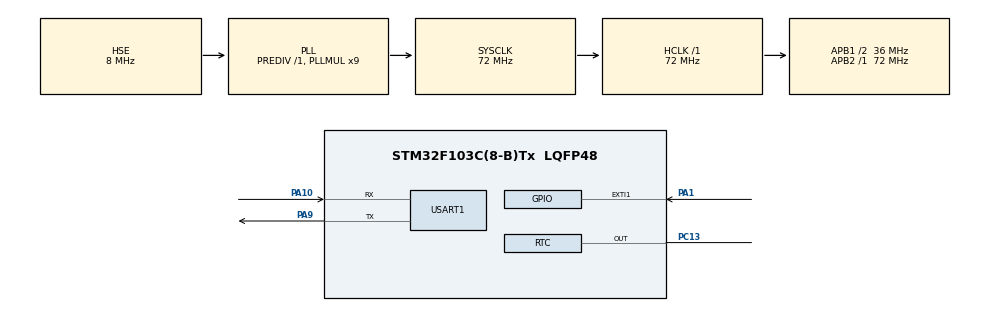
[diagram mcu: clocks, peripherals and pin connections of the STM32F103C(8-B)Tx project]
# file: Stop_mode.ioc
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Mcu.Family=STM32F1
Mcu.Name=STM32F103C(8-B)Tx
Mcu.Package=LQFP48
NVIC.EXTI1_IRQn=true\:1\:0\:true\:false\:true\:true\:true\:true
NVIC.PriorityGroup=NVIC_PRIORITYGROUP_4
NVIC.RTC_Alarm_IRQn=true\:1\:0\:true\:false\:true\:true\:true\:true
PA1.Signal=GPXTI1
PA10.Mode=Asynchronous
PA10.Signal=USART1_RX
PA13.Mode=Serial_Wire
PA13.Signal=SYS_JTMS-SWDIO
PA14.Mode=Serial_Wire
PA14.Signal=SYS_JTCK-SWCLK
PA9.Mode=Asynchronous
PA9.Signal=USART1_TX
PC13-TAMPER-RTC.Mode=RTC OUT
PC13-TAMPER-RTC.Signal=RTC_OUT
PD0-OSC_IN.Mode=HSE-External-Oscillator
PD0-OSC_IN.Signal=RCC_OSC_IN
PD1-OSC_OUT.Mode=HSE-External-Oscillator
PD1-OSC_OUT.Signal=RCC_OSC_OUT
ProjectManager.HeapSize=0x200
ProjectManager.StackSize=0x400
ProjectManager.TargetToolchain=STM32CubeIDE
RCC.AHBFreq_Value=72000000
RCC.APB1CLKDivider=RCC_HCLK_DIV2
RCC.APB1Freq_Value=36000000
RCC.APB1TimFreq_Value=72000000
RCC.APB2Freq_Value=72000000
RCC.APB2TimFreq_Value=72000000
RCC.HCLKFreq_Value=72000000
RCC.PLLMUL=RCC_PLL_MUL9
RCC.PLLSourceVirtual=RCC_PLLSOURCE_HSE
RCC.SYSCLKFreq_VALUE=72000000
RCC.SYSCLKSource=RCC_SYSCLKSOURCE_PLLCLK
RCC.USBFreq_Value=72000000
RTC.AsynchPrediv=39999
RTC.AutoPrediv=0
RTC.Format=RTC_FORMAT_BIN
USART1.VirtualMode=VM_ASYNC
VP_RTC_VS_RTC_Activate.Mode=RTC_Enabled
VP_RTC_VS_RTC_Calendar.Mode=RTC_Calendar
board=custom

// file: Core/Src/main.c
/* USER CODE BEGIN Header */
/* USER CODE END Header */
#include "main.h"

/* USER CODE BEGIN Includes */
#include <string.h>
/* USER CODE END Includes */

RTC_HandleTypeDef hrtc;

UART_HandleTypeDef huart1;

/* USER CODE BEGIN PV */
//RTC_TimeTypeDef Time;
//RTC_AlarmTypeDef Alarm;
//
char *str=NULL;
/* USER CODE END PV */

void SystemClock_Config(void);
static void MX_GPIO_Init(void);
static void MX_RTC_Init(void);
static void MX_USART1_UART_Init(void);
/* USER CODE BEGIN PFP */

void HAL_RTC_AlarmAEventCallback(RTC_HandleTypeDef *hrtc){

		HAL_ResumeTick();
		SystemClock_Config();
		str="wake up ALARM_IT\r\n";
}

void HAL_GPIO_EXTI_Callback(uint16_t GPIO_Pin){
	if(GPIO_Pin == GPIO_PIN_1){
		HAL_ResumeTick();
		SystemClock_Config();
		str="wake up GPIO_IT\r\n";
	}
}
/* USER CODE END PFP */

int main(void)
{

  /* MCU Configuration--------------------------------------------------------*/

  /* Reset of all peripherals, Initializes the Flash interface and the Systick. */
  HAL_Init();

  /* Configure the system clock */
  SystemClock_Config();

  /* Initialize all configured peripherals */
  MX_GPIO_Init();
  MX_RTC_Init();
  MX_USART1_UART_Init();
  /* USER CODE BEGIN 2 */

str = "about to go to stop mode\r\n";
HAL_UART_Transmit(&huart1, (uint8_t*)str, strlen(str),1000);

HAL_SuspendTick();

HAL_PWR_EnterSTOPMode(PWR_LOWPOWERREGULATOR_ON, PWR_STOPENTRY_WFI);

HAL_UART_Transmit(&huart1, (uint8_t*)str, strlen(str),1000);

  /* USER CODE END 2 */

  /* Infinite loop */
  /* USER CODE BEGIN WHILE */
  while(1){
	  HAL_UART_Transmit(&huart1, (uint8_t*)str, strlen(str),1000);
	  HAL_Delay(2000);
//	  HAL_RTC_GetTime(&hrtc, &Time,RTC_FORMAT_BIN);
//	  HAL_RTC_GetAlarm(&hrtc, &Alarm, RTC_ALARM_A, RTC_FORMAT_BIN);
//	  HAL_Delay(900);
  }
    /* USER CODE END WHILE */

}

void SystemClock_Config(void)
{
  RCC_OscInitTypeDef RCC_OscInitStruct = {0};
  RCC_ClkInitTypeDef RCC_ClkInitStruct = {0};
  RCC_PeriphCLKInitTypeDef PeriphClkInit = {0};

  /** Initializes the RCC Oscillators according to the specified parameters
  * in the RCC_OscInitTypeDef structure.
  */
  RCC_OscInitStruct.OscillatorType = RCC_OSCILLATORTYPE_LSI|RCC_OSCILLATORTYPE_HSE;
  RCC_OscInitStruct.HSEState = RCC_HSE_ON;
  RCC_OscInitStruct.HSEPredivValue = RCC_HSE_PREDIV_DIV1;
  RCC_OscInitStruct.HSIState = RCC_HSI_ON;
  RCC_OscInitStruct.LSIState = RCC_LSI_ON;
  RCC_OscInitStruct.PLL.PLLState = RCC_PLL_ON;
  RCC_OscInitStruct.PLL.PLLSource = RCC_PLLSOURCE_HSE;
  RCC_OscInitStruct.PLL.PLLMUL = RCC_PLL_MUL9;
  if (HAL_RCC_OscConfig(&RCC_OscInitStruct) != HAL_OK)
  {
    Error_Handler();
  }

  /** Initializes the CPU, AHB and APB buses clocks
  */
  RCC_ClkInitStruct.ClockType = RCC_CLOCKTYPE_HCLK|RCC_CLOCKTYPE_SYSCLK
                              |RCC_CLOCKTYPE_PCLK1|RCC_CLOCKTYPE_PCLK2;
  RCC_ClkInitStruct.SYSCLKSource = RCC_SYSCLKSOURCE_PLLCLK;
  RCC_ClkInitStruct.AHBCLKDivider = RCC_SYSCLK_DIV1;
  RCC_ClkInitStruct.APB1CLKDivider = RCC_HCLK_DIV2;
  RCC_ClkInitStruct.APB2CLKDivider = RCC_HCLK_DIV1;

  if (HAL_RCC_ClockConfig(&RCC_ClkInitStruct, FLASH_LATENCY_2) != HAL_OK)
  {
    Error_Handler();
  }
  PeriphClkInit.PeriphClockSelection = RCC_PERIPHCLK_RTC;
  PeriphClkInit.RTCClockSelection = RCC_RTCCLKSOURCE_LSI;
  if (HAL_RCCEx_PeriphCLKConfig(&PeriphClkInit) != HAL_OK)
  {
    Error_Handler();
  }
}

static void MX_RTC_Init(void)
{

  RTC_TimeTypeDef sTime = {0};
  RTC_DateTypeDef DateToUpdate = {0};
  RTC_AlarmTypeDef sAlarm = {0};

  /** Initialize RTC Only
  */
  hrtc.Instance = RTC;
  hrtc.Init.AsynchPrediv = 39999;
  hrtc.Init.OutPut = RTC_OUTPUTSOURCE_ALARM;
  if (HAL_RTC_Init(&hrtc) != HAL_OK)
  {
    Error_Handler();
  }

  /** Initialize RTC and set the Time and Date
  */
  sTime.Hours = 0;
  sTime.Minutes = 0;
  sTime.Seconds = 0;

  if (HAL_RTC_SetTime(&hrtc, &sTime, RTC_FORMAT_BIN) != HAL_OK)
  {
    Error_Handler();
  }
  DateToUpdate.WeekDay = RTC_WEEKDAY_MONDAY;
  DateToUpdate.Month = RTC_MONTH_JANUARY;
  DateToUpdate.Date = 1;
  DateToUpdate.Year = 0;

  if (HAL_RTC_SetDate(&hrtc, &DateToUpdate, RTC_FORMAT_BIN) != HAL_OK)
  {
    Error_Handler();
  }

  /** Enable the Alarm A
  */
  sAlarm.AlarmTime.Hours = 0;
  sAlarm.AlarmTime.Minutes = 0;
  sAlarm.AlarmTime.Seconds = 10;
  sAlarm.Alarm = RTC_ALARM_A;
  if (HAL_RTC_SetAlarm_IT(&hrtc, &sAlarm, RTC_FORMAT_BIN) != HAL_OK)
  {
    Error_Handler();
  }
  /* USER CODE BEGIN RTC_Init 2 */
  if (HAL_RTC_SetAlarm_IT(&hrtc, &sAlarm,RTC_FORMAT_BIN) != HAL_OK)
  {
    Error_Handler();
  }
  /* USER CODE END RTC_Init 2 */

}

static void MX_USART1_UART_Init(void)
{

  huart1.Instance = USART1;
  huart1.Init.BaudRate = 115200;
  huart1.Init.WordLength = UART_WORDLENGTH_8B;
  huart1.Init.StopBits = UART_STOPBITS_1;
  huart1.Init.Parity = UART_PARITY_NONE;
  huart1.Init.Mode = UART_MODE_TX_RX;
  huart1.Init.HwFlowCtl = UART_HWCONTROL_NONE;
  huart1.Init.OverSampling = UART_OVERSAMPLING_16;
  if (HAL_UART_Init(&huart1) != HAL_OK)
  {
    Error_Handler();
  }

}

static void MX_GPIO_Init(void)
{
  GPIO_InitTypeDef GPIO_InitStruct = {0};

  /* GPIO Ports Clock Enable */
  __HAL_RCC_GPIOC_CLK_ENABLE();
  __HAL_RCC_GPIOD_CLK_ENABLE();
  __HAL_RCC_GPIOA_CLK_ENABLE();

  /*Configure GPIO pin : PA1 */
  GPIO_InitStruct.Pin = GPIO_PIN_1;
  GPIO_InitStruct.Mode = GPIO_MODE_IT_RISING;
  GPIO_InitStruct.Pull = GPIO_NOPULL;
  HAL_GPIO_Init(GPIOA, &GPIO_InitStruct);

  /* EXTI interrupt init*/
  HAL_NVIC_SetPriority(EXTI1_IRQn, 1, 0);
  HAL_NVIC_EnableIRQ(EXTI1_IRQn);

/* USER CODE BEGIN MX_GPIO_Init_2 */
  HAL_NVIC_SetPriority(RTC_Alarm_IRQn, 1, 0);
  HAL_NVIC_EnableIRQ(RTC_Alarm_IRQn);
/* USER CODE END MX_GPIO_Init_2 */
}

void Error_Handler(void)
{
}
